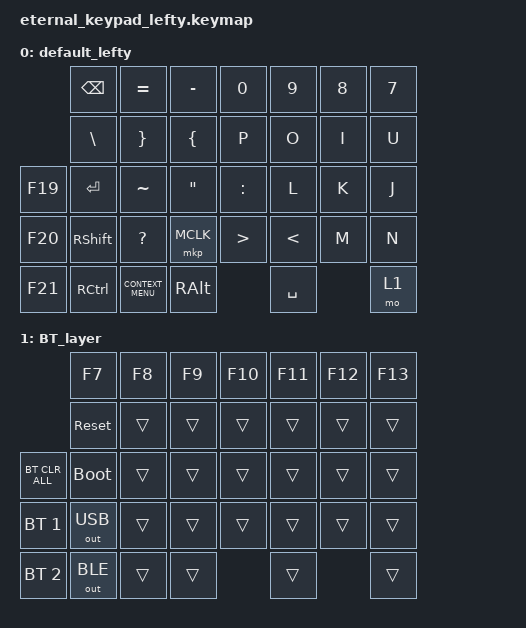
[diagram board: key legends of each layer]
/*
 * Copyright (c) 2022 The ZMK Contributors
 *
 * SPDX-License-Identifier: MIT
 */

#include <behaviors.dtsi>
#include <dt-bindings/zmk/bt.h>
#include <dt-bindings/zmk/keys.h>
#include <dt-bindings/zmk/outputs.h>
#include <dt-bindings/zmk/pointing.h>

#define BASE        0
#define ARROW       1
#define FUNC        2

/ {
    chosen {
        zmk,kscan = &kscan0;
        zmk,matrix-transform = &default_transform;
    };

    keymap {
        compatible = "zmk,keymap";

        default_lefty {
            bindings = <
         &kp BACKSPACE    &kp EQUAL           &kp MINUS          &kp NUMBER_0      &kp NUMBER_9   &kp N8  &kp N7
         &kp BACKSLASH    &kp RIGHT_BRACE     &kp LEFT_BRACE     &kp P             &kp O          &kp I   &kp U
&kp F19  &kp ENTER        &kp TILDE           &kp DOUBLE_QUOTES  &kp COLON         &kp L          &kp K   &kp J
&kp F20  &kp RIGHT_SHIFT  &kp QUESTION        &mkp MCLK          &kp GREATER_THAN  &kp LESS_THAN  &kp M   &kp N
&kp F21  &kp RCTRL        &kp K_CONTEXT_MENU  &kp RIGHT_ALT                        &kp SPACE              &mo 1
            >;
        };

        BT_layer {
            bindings = <
                &kp F7        &kp F8  &kp F9  &kp F10  &kp F11  &kp F12  &kp F13
                &sys_reset    &trans  &trans  &trans   &trans   &trans   &trans
&bt BT_CLR_ALL  &bootloader   &trans  &trans  &trans   &trans   &trans   &trans
&bt BT_SEL 1    &out OUT_USB  &trans  &trans  &trans   &trans   &trans   &trans
&bt BT_SEL 2    &out OUT_BLE  &trans  &trans           &trans            &trans
            >;
        };
    };
};
